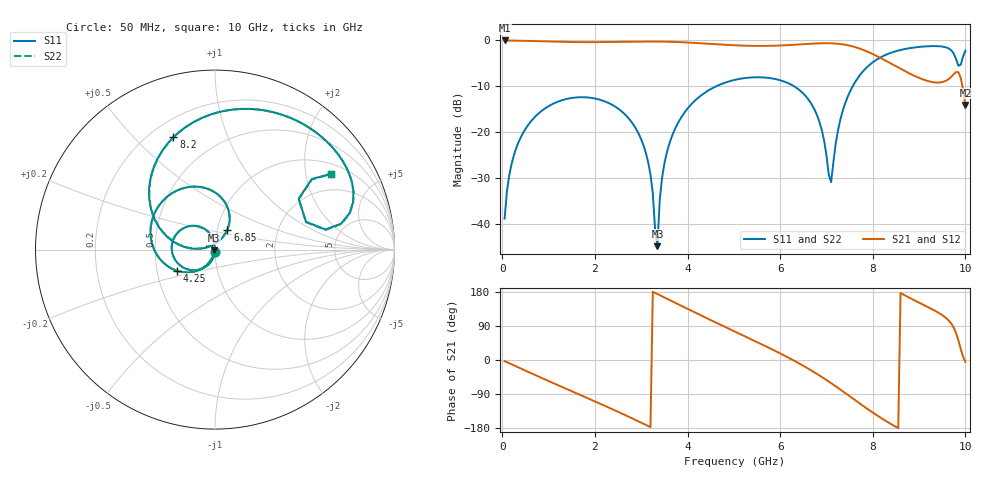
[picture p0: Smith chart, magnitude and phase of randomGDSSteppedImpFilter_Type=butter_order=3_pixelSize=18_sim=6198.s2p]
! freq	dB(S11)	phase(S11)	dB(S12)	phase(S12)
!  dB(S21)	phase(S21)	dB(S22)	phase(S22)
!S-par simulation data
#  GHz  S  DB  R 50
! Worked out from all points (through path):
!   200 points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, 50 MHz to 10 GHz, reference 50 ohm
!   highest |S21| = -0.01 dB at 50 MHz (marker M1); lowest = -14.0 dB at 10 GHz (marker M2)
!   group delay of S21, straight-line fit = 180 ps
!   lowest |S11| = -44.7 dB at 3.35 GHz (marker M3), VSWR 1.01, Z = 49.6 - j0.392 ohm
!   |S11| at or under -10 dB: start of sweep to 4.612 GHz; 6.305 GHz to 7.565 GHz (1.26 GHz wide, 18.2 % of centre)
!   |S22| runs from -44.0 to -1.2 dB; largest |S21 - S12| = 0
!   S11 on the Smith chart (normalised r, x): 50 MHz: 1.00, -0.02; 4.25 GHz: 0.63, -0.16; 6.85 GHz: 1.12, +0.25; 8.2 GHz: 0.29, +0.66; 10 GHz: 1.33, +2.79
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0.05  -38.73 -91.9  -0.01 -2.9  -0.01 -2.9  -38.73 -91.7
0.2  -26.87 -101.4  -0.03 -11.3  -0.03 -11.3  -26.87 -101.4
0.5  -19.26 -118.5  -0.09 -28.1  -0.09 -28.1  -19.26 -118.5
1.75  -12.34 173.5  -0.37 -95.9  -0.37 -95.9  -12.34 173.6
2.95  -20.40 108.0  -0.24 -162.4  -0.24 -162.4  -20.40 108.5
3.2  -29.18 95.9  -0.23 -177.1  -0.23 -177.1  -29.16 97.2
3.35  -44.73 -137.0  -0.24 174.0  -0.24 174.0  -44.04 -141.8
3.4  -34.64 -107.3  -0.24 171.0  -0.24 171.0  -34.59 -110.0
3.65  -21.18 -116.2  -0.30 156.0  -0.30 156.0  -21.18 -116.8
4.25  -12.30 -150.9  -0.59 120.1  -0.59 120.1  -12.30 -151.1
5.05  -8.51 163.0  -1.07 73.4  -1.07 73.4  -8.51 162.9
6  -8.66 108.0  -1.10 17.4  -1.10 17.4  -8.66 108.0
6.7  -14.23 65.1  -0.70 -29.6  -0.70 -29.6  -14.23 65.2
6.85  -17.76 57.9  -0.63 -40.9  -0.63 -40.9  -17.75 58.3
7.1  -30.82 132.6  -0.63 -61.0  -0.63 -61.0  -30.48 131.9
7.45  -12.45 169.0  -1.03 -91.2  -1.03 -91.2  -12.44 168.6
8.2  -3.51 110.3  -3.98 -154.6  -3.98 -154.6  -3.50 110.1
8.35  -2.84 99.4  -4.80 -165.8  -4.80 -165.8  -2.84 99.2
9.05  -1.37 55.1  -8.34 148.2  -8.34 148.2  -1.36 54.9
9.75  -2.89 11.6  -7.32 85.0  -7.32 85.0  -2.89 11.4
9.9  -5.26 31.3  -8.13 28.8  -8.13 28.8  -5.28 31.1
10  -2.23 33.1  -14.02 -5.1  -14.02 -5.1  -2.25 33.0
